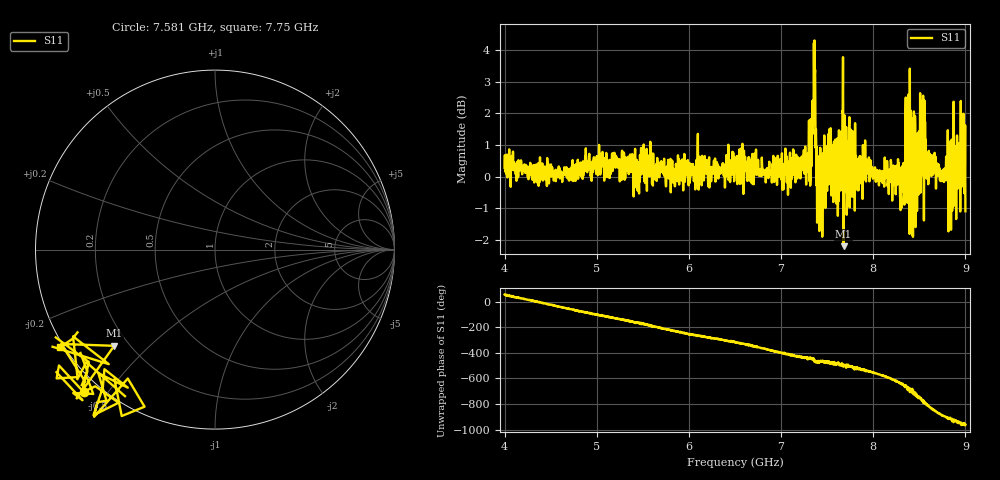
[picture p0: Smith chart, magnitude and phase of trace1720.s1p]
! Created with skrf 1.8.0 (http://scikit-rf.org).
# Hz S RI R 50.0
!freq ReS11 ImS11
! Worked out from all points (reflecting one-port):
!   1601 points, 4 GHz to 9 GHz, reference 50 ohm
!   lowest |S11| = -2.2 dB at 7.678 GHz (marker M1), VSWR 7.94, Z = 7.29 - j19.7 ohm
!   phase of S11 starts at 55 deg and turns -1017 deg over the sweep
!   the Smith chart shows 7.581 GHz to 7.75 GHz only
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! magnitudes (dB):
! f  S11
! 4 GHz  0.3
! 4.625 GHz  -0.2
! 5.25 GHz  -0.2
! 5.875 GHz  0.2
! 6.5 GHz  0.3
! 7.125 GHz  0.3
! 7.294 GHz  0.6
! 7.328 GHz  0.3
! 7.347 GHz  1.6
! 7.362 GHz  4.3
! 7.397 GHz  -1.3
! 7.409 GHz  -1.2
! 7.512 GHz  1.3
! 7.609 GHz  0.6
! 7.65 GHz  1.0
! 7.678 GHz  -2.2
! 7.75 GHz  0.2
! 8.259 GHz  0.3
! 8.312 GHz  0.3
! 8.375 GHz  1.9
! 8.412 GHz  -0.4
! 8.447 GHz  1.5
! 8.519 GHz  2.4
! 8.606 GHz  0.1
! 8.841 GHz  1.1
! 8.953 GHz  -0.2
! 8.972 GHz  0.4
! 9 GHz  -1.1
